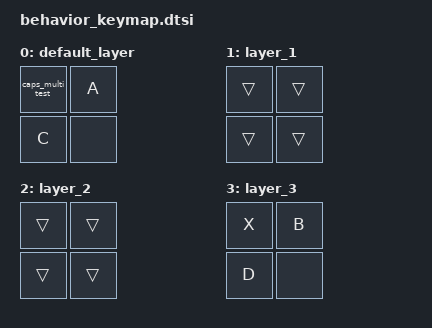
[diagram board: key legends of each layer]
#include <behaviors.dtsi>
#include <dt-bindings/zmk/keys.h>
#include <dt-bindings/zmk/kscan_mock.h>

/ {
    behaviors {
        caps_multi_test: caps_multi_test {
            compatible = "zmk,behavior-caps-multi-role";
            #binding-cells = <0>;
            tapping-term-ms = <260>;
            bindings = <&kp LANG1>, <&kp LCTRL>, <&mo 3>;
        };

        caps_multi_mac_test: caps_multi_mac_test {
            compatible = "zmk,behavior-caps-multi-role";
            #binding-cells = <0>;
            tapping-term-ms = <260>;
            bindings = <&kp LC(SPACE)>, <&kp LCTRL>, <&mo 3>;
        };
    };

    keymap {
        compatible = "zmk,keymap";

        default_layer: default_layer {
            bindings = <
                &caps_multi_test &kp A
                &kp C           &none
            >;
        };

        layer_1 {
            bindings = <
                &trans &trans
                &trans &trans
            >;
        };

        layer_2 {
            bindings = <
                &trans &trans
                &trans &trans
            >;
        };

        layer_3 {
            bindings = <
                &kp X &kp B
                &kp D &none
            >;
        };
    };
};
